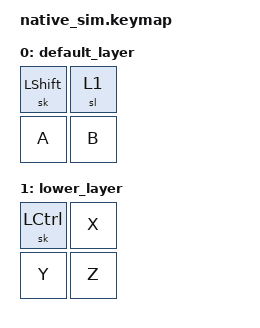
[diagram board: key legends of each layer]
#include <dt-bindings/zmk/keys.h>
#include <behaviors.dtsi>
#include <dt-bindings/zmk/input_mock.h>

&sk {
    quick-release;
};

/ {
    keymap {
        compatible = "zmk,keymap";

        default_layer {
            bindings = <
                &sk LEFT_SHIFT &sl 1
                &kp A &kp B>;
        };

        lower_layer {
            bindings = <
                &sk LEFT_CONTROL &kp X
                &kp Y  &kp Z>;
        };
    };
};

&mock_input {
    events = <
        /* tap sl lower_layer */
        ZMK_INPUT_MOCK_PRESS(0,1,10)
        ZMK_INPUT_MOCK_RELEASE(0,1,10)
        /* tap sk LEFT_CONTROL */
        ZMK_INPUT_MOCK_PRESS(0,0,10)
        ZMK_INPUT_MOCK_RELEASE(0,0,10)
        /* tap A */
        ZMK_INPUT_MOCK_PRESS(1,0,10)
        ZMK_INPUT_MOCK_RELEASE(1,0,10)
        /* tap B */
        ZMK_INPUT_MOCK_PRESS(1,1,10)
        ZMK_INPUT_MOCK_RELEASE(1,1,10)

        /* tap sk LEFT_SHIFT */
        ZMK_INPUT_MOCK_PRESS(0,0,10)
        ZMK_INPUT_MOCK_RELEASE(0,0,10)
        /* tap sl lower_layer */
        ZMK_INPUT_MOCK_PRESS(0,1,10)
        ZMK_INPUT_MOCK_RELEASE(0,1,10)
        /* tap Y */
        ZMK_INPUT_MOCK_PRESS(1,0,10)
        ZMK_INPUT_MOCK_RELEASE(1,0,10)
        /* tap B */
        ZMK_INPUT_MOCK_PRESS(1,1,10)
        ZMK_INPUT_MOCK_RELEASE(1,1,10)
    >;
};
